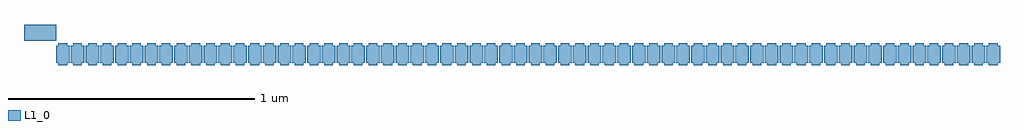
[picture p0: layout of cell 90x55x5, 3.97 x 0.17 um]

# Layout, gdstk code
import gdstk
lib = gdstk.Library(unit=1e-6, precision=1e-09)
def R(c, l, rs):  # rectangles x0, y0, x1, y1
    for r in rs: c.add(gdstk.rectangle(r[:2], r[2:], *l))
def P(c, l, *ps):  # polygons
    for p in ps: c.add(gdstk.Polygon(p, *l))
L1_0 = (1, 0)

c_90x55single = lib.new_cell('90x55single')
P(c_90x55single, L1_0, [(0,0),(0.01,0),(0.01,-0.01),(0.045,-0.01),(0.045,0),(0.055,0),(0.055,0.07),(0.045,0.07),(0.045,0.08),(0.01,0.08),(0.01,0.07),(0,0.07)])

c_90x55x5 = lib.new_cell('90x55x5')
R(c_90x55x5, L1_0, [(-0.13,0.1,0,0.165)])
r = gdstk.Reference(c_90x55single, (0,0.01)); r.repetition = gdstk.Repetition(64, 1, v1=(0.06,0), v2=(0,0)); c_90x55x5.add(r)

lib.write_gds('90x55x5.gds')
